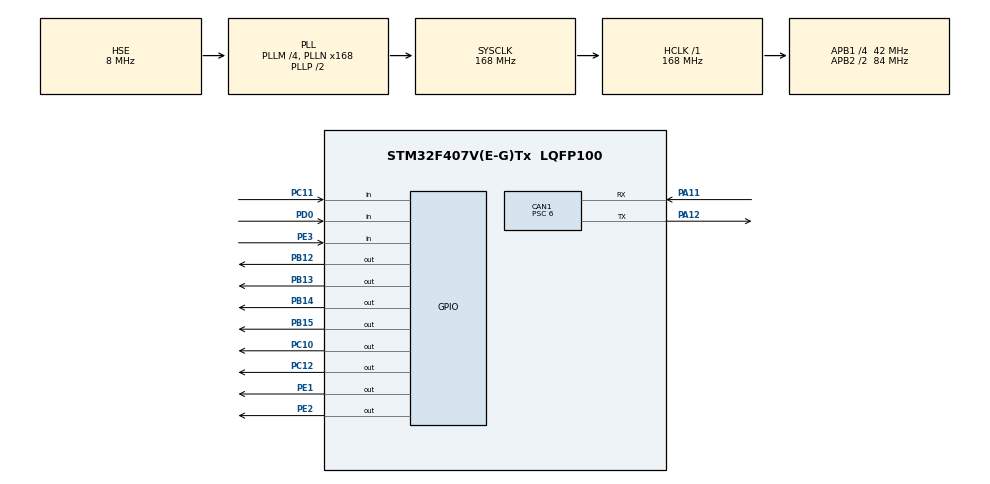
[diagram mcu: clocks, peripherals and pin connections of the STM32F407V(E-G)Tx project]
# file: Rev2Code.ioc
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CAN1.BS1=CAN_BS1_11TQ
CAN1.BS2=CAN_BS2_2TQ
CAN1.CalculateTimeQuantum=142.85714285714286
CAN1.Prescaler=6
Mcu.Family=STM32F4
Mcu.Name=STM32F407V(E-G)Tx
Mcu.Package=LQFP100
NVIC.PriorityGroup=NVIC_PRIORITYGROUP_4
NVIC.TIM3_IRQn=true\:0\:0\:false\:false\:true\:true
PA11.Mode=Master
PA11.Signal=CAN1_RX
PA12.Mode=Master
PA12.Signal=CAN1_TX
PA13.Mode=Serial_Wire
PA13.Signal=SYS_JTMS-SWDIO
PA14.Mode=Serial_Wire
PA14.Signal=SYS_JTCK-SWCLK
PB12.Signal=GPIO_Output
PB13.Signal=GPIO_Output
PB14.Signal=GPIO_Output
PB15.Signal=GPIO_Output
PC10.Signal=GPIO_Output
PC11.Signal=GPIO_Input
PC12.Signal=GPIO_Output
PD0.Signal=GPIO_Input
PE1.Signal=GPIO_Output
PE2.Signal=GPIO_Output
PE3.Signal=GPIO_Input
PH0-OSC_IN.Mode=HSE-External-Oscillator
PH0-OSC_IN.Signal=RCC_OSC_IN
PH1-OSC_OUT.Mode=HSE-External-Oscillator
PH1-OSC_OUT.Signal=RCC_OSC_OUT
ProjectManager.HeapSize=0x200
ProjectManager.StackSize=0x400
ProjectManager.TargetToolchain=TrueSTUDIO
RCC.48MHZClocksFreq_Value=84000000
RCC.AHBFreq_Value=168000000
RCC.APB1CLKDivider=RCC_HCLK_DIV4
RCC.APB1Freq_Value=42000000
RCC.APB1TimFreq_Value=84000000
RCC.APB2CLKDivider=RCC_HCLK_DIV2
RCC.APB2Freq_Value=84000000
RCC.APB2TimFreq_Value=168000000
RCC.CortexFreq_Value=168000000
RCC.HCLKFreq_Value=168000000
RCC.HSE_VALUE=8000000
RCC.HSI_VALUE=16000000
RCC.LSE_VALUE=32768
RCC.PLLM=4
RCC.PLLN=168
RCC.PLLSourceVirtual=RCC_PLLSOURCE_HSE
RCC.SYSCLKFreq_VALUE=168000000
RCC.SYSCLKSource=RCC_SYSCLKSOURCE_PLLCLK
RCC.VCOOutputFreq_Value=336000000
TIM3.Period=999
TIM3.Prescaler=42000
VP_TIM3_VS_ClockSourceINT.Mode=Internal
VP_TIM3_VS_OPM.Mode=OPM_bit
board=Rev2Code

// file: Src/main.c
/**
  ******************************************************************************
  * @file           : main.c
  * @brief          : Main program body
  ******************************************************************************
  ** This notice applies to any and all portions of this file
  * that are not between comment pairs USER CODE BEGIN and
  * USER CODE END. Other portions of this file, whether
  * inserted by the user or by software development tools
  * are owned by their respective copyright owners.
  *
  * COPYRIGHT(c) 2018 STMicroelectronics
  *
  * Redistribution and use in source and binary forms, with or without modification,
  * are permitted provided that the following conditions are met:
  *   1. Redistributions of source code must retain the above copyright notice,
  *      this list of conditions and the following disclaimer.
  *   2. Redistributions in binary form must reproduce the above copyright notice,
  *      this list of conditions and the following disclaimer in the documentation
  *      and/or other materials provided with the distribution.
  *   3. Neither the name of STMicroelectronics nor the names of its contributors
  *      may be used to endorse or promote products derived from this software
  *      without specific prior written permission.
  *
  * THIS SOFTWARE IS PROVIDED BY THE COPYRIGHT HOLDERS AND CONTRIBUTORS "AS IS"
  * AND ANY EXPRESS OR IMPLIED WARRANTIES, INCLUDING, BUT NOT LIMITED TO, THE
  * IMPLIED WARRANTIES OF MERCHANTABILITY AND FITNESS FOR A PARTICULAR PURPOSE ARE
  * DISCLAIMED. IN NO EVENT SHALL THE COPYRIGHT HOLDER OR CONTRIBUTORS BE LIABLE
  * FOR ANY DIRECT, INDIRECT, INCIDENTAL, SPECIAL, EXEMPLARY, OR CONSEQUENTIAL
  * DAMAGES (INCLUDING, BUT NOT LIMITED TO, PROCUREMENT OF SUBSTITUTE GOODS OR
  * SERVICES; LOSS OF USE, DATA, OR PROFITS; OR BUSINESS INTERRUPTION) HOWEVER
  * CAUSED AND ON ANY THEORY OF LIABILITY, WHETHER IN CONTRACT, STRICT LIABILITY,
  * OR TORT (INCLUDING NEGLIGENCE OR OTHERWISE) ARISING IN ANY WAY OUT OF THE USE
  * OF THIS SOFTWARE, EVEN IF ADVISED OF THE POSSIBILITY OF SUCH DAMAGE.
  *
  ******************************************************************************
  */
#include "main.h"
#include "stm32f4xx_hal.h"
#include "can.h"
#include "tim.h"
#include "gpio.h"

/* USER CODE BEGIN Includes */
#include "sm2.h"
#include "sm_functions.h"
#include "mycan.h"
#include "scheduler.h"
#include "identifiers.h"
#include "init_sm.h"
#include "Core.h"
/* USER CODE END Includes */

/* USER CODE BEGIN PV */
/* Private variables ---------------------------------------------------------*/
/* USER CODE END PV */

void SystemClock_Config(void);

/* USER CODE BEGIN PFP */
/* Private function prototypes -----------------------------------------------*/

/* USER CODE END PFP */

/* USER CODE BEGIN 0 */
void HAL_TIM_PeriodElapsedCallback(TIM_HandleTypeDef *htim)
{
	if (htim->Instance==TIM3) // Reset back high after 1000ms
	{
		HAL_GPIO_WritePin(RTDS_GPIO_Port, RTDS_Pin, GPIO_PIN_RESET);
	}
}
/* USER CODE END 0 */

int main(void)
{

  /* MCU Configuration----------------------------------------------------------*/
  precharge_start = 0;

  /* Reset of all peripherals, Initializes the Flash interface and the Systick. */
  HAL_Init();

  /* Configure the system clock */
  SystemClock_Config();

  /* Initialize all configured peripherals */
  MX_GPIO_Init();
  MX_TIM3_Init();
  MX_CAN1_Init();
  /* USER CODE BEGIN 2 */
  initialize_state_machine(&sm);

  Schedule schedule;
  MakeSchedule(&schedule, 4);
  AddTask(&schedule, &mainloop,        457);
  AddTask(&schedule, &get_CAN,          10);
  AddTask(&schedule, &send_heartbeat, 1000);
  AddTask(&schedule, &send_state,      600);
  AddTask(&schedule, &assert_FLT_lines, 77);
  Init_MyCAN();

  HAL_GPIO_WritePin(RTDS_GPIO_Port, RTDS_Pin, GPIO_PIN_RESET);
  HAL_TIM_Base_Start_IT(&htim3);

  WriteAUXLED(0, 0);
  WriteAUXLED(1, 0);
  WriteAUXLED(2, 0);
  WriteAUXLED(3, 0);
  /* USER CODE END 2 */

  /* Infinite loop */
  /* USER CODE BEGIN WHILE */
  while (1)
  {
	  RunSchedule(&schedule);
  /* USER CODE END WHILE */

  }

}

void SystemClock_Config(void)
{

  RCC_OscInitTypeDef RCC_OscInitStruct;
  RCC_ClkInitTypeDef RCC_ClkInitStruct;

    /**Configure the main internal regulator output voltage
    */
  __HAL_RCC_PWR_CLK_ENABLE();

  __HAL_PWR_VOLTAGESCALING_CONFIG(PWR_REGULATOR_VOLTAGE_SCALE1);

    /**Initializes the CPU, AHB and APB busses clocks
    */
  RCC_OscInitStruct.OscillatorType = RCC_OSCILLATORTYPE_HSE;
  RCC_OscInitStruct.HSEState = RCC_HSE_ON;
  RCC_OscInitStruct.PLL.PLLState = RCC_PLL_ON;
  RCC_OscInitStruct.PLL.PLLSource = RCC_PLLSOURCE_HSE;
  RCC_OscInitStruct.PLL.PLLM = 4;
  RCC_OscInitStruct.PLL.PLLN = 168;
  RCC_OscInitStruct.PLL.PLLP = RCC_PLLP_DIV2;
  RCC_OscInitStruct.PLL.PLLQ = 4;
  if (HAL_RCC_OscConfig(&RCC_OscInitStruct) != HAL_OK)
  {
    _Error_Handler(__FILE__, __LINE__);
  }

    /**Initializes the CPU, AHB and APB busses clocks
    */
  RCC_ClkInitStruct.ClockType = RCC_CLOCKTYPE_HCLK|RCC_CLOCKTYPE_SYSCLK
                              |RCC_CLOCKTYPE_PCLK1|RCC_CLOCKTYPE_PCLK2;
  RCC_ClkInitStruct.SYSCLKSource = RCC_SYSCLKSOURCE_PLLCLK;
  RCC_ClkInitStruct.AHBCLKDivider = RCC_SYSCLK_DIV1;
  RCC_ClkInitStruct.APB1CLKDivider = RCC_HCLK_DIV4;
  RCC_ClkInitStruct.APB2CLKDivider = RCC_HCLK_DIV2;

  if (HAL_RCC_ClockConfig(&RCC_ClkInitStruct, FLASH_LATENCY_5) != HAL_OK)
  {
    _Error_Handler(__FILE__, __LINE__);
  }

    /**Configure the Systick interrupt time
    */
  HAL_SYSTICK_Config(HAL_RCC_GetHCLKFreq()/1000);

    /**Configure the Systick
    */
  HAL_SYSTICK_CLKSourceConfig(SYSTICK_CLKSOURCE_HCLK);

  /* SysTick_IRQn interrupt configuration */
  HAL_NVIC_SetPriority(SysTick_IRQn, 0, 0);
}

void _Error_Handler(char *file, int line)
{
  while(1)
  {
  }
}

/************************ (C) COPYRIGHT STMicroelectronics *****END OF FILE****/
